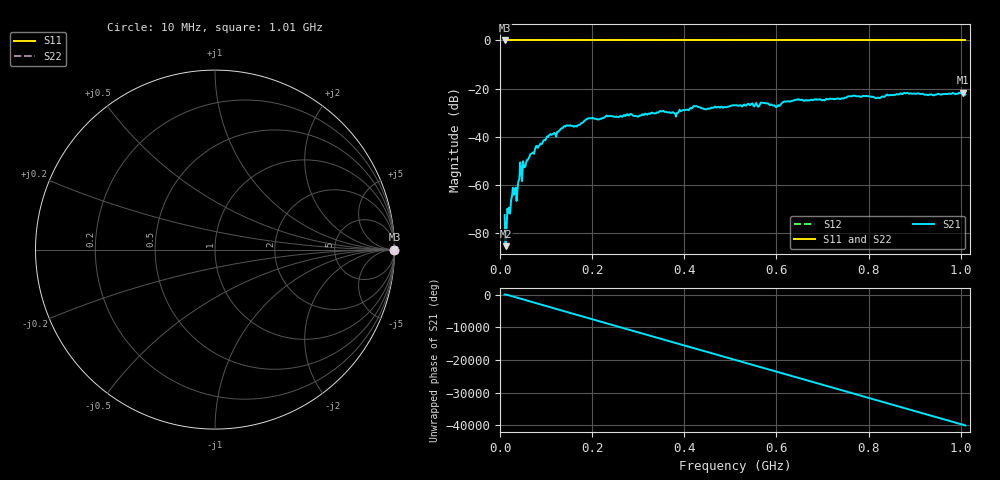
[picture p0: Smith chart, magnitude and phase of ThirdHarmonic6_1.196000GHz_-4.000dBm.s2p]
! 8/16/2025 12:20:10 PM
! C:\ANRITSUVNA\TEMP\TEMP.S2P
! CHANNEL.1
! TR.MEASUREMENT
! RAW.DATA
! RF.CORRECTION.OFF
! AVERAGING.OFF
! IF.BANDWIDTH: 5KHZ
! SWEEPTYPE:  FREQ.SWEEP(Linear)
! Reference Plane Port Info
! PORT:  PORT1  PORT2
! DISTANCE:  0  m  0  m
! TIME:  0  s  0  s
! PHASE.OFFSET:  0  deg.  0  deg.
! LOSS:  0  dB  0  dB
! REF.LOSS:  0  dB  0  dB
! REF.FREQ:  0  Hz  0  Hz
! Power Info
! POWER:  -20  dBm  -20  dBm
! EFF.POWER:  -20  dBm  -20  dBm
! SOURCE.ATTEN:  0  dB  0  dB
! TEST.ATTEN:  0  dB  0  dB
# GHZ S RI R 50.0
! FREQ.GHZ  S11RE  S11IM  S21RE  S21IM  S12RE  S12IM  S22RE  S22IM
!; PortSelection: Port_12
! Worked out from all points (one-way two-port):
!   501 points, 10 MHz to 1.01 GHz, reference 50 ohm
!   highest |S21| = -21.66 dB at 1.004 GHz (marker M1); lowest = -85.6 dB at 12 MHz (marker M2)
!   lowest |S11| = 0.0 dB at 10 MHz (marker M3)
!   |S11| at or under -10 dB: nowhere
!   |S22| runs from 0.0 to 0.0 dB; largest |S21 - S12| = 1.1
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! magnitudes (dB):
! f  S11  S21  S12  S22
! 10 MHz  0.0  -72.6  0.0  0.0
! 12 MHz  0.0  -85.6  0.0  0.0
! 16 MHz  0.0  -70.0  0.0  0.0
! 30 MHz  0.0  -64.2  0.0  0.0
! 38 MHz  0.0  -62.0  0.0  0.0
! 42 MHz  0.0  -57.7  0.0  0.0
! 48 MHz  0.0  -58.5  0.0  0.0
! 68 MHz  0.0  -47.1  0.0  0.0
! 106 MHz  0.0  -39.5  0.0  0.0
! 142 MHz  0.0  -35.8  0.0  0.0
! 178 MHz  0.0  -34.3  0.0  0.0
! 196 MHz  0.0  -32.3  0.0  0.0
! 344 MHz  0.0  -30.0  0.0  0.0
! 382 MHz  0.0  -31.7  0.0  0.0
! 424 MHz  0.0  -27.4  0.0  0.0
! 510 MHz  0.0  -26.9  0.0  0.0
! 602 MHz  0.0  -27.2  0.0  0.0
! 618 MHz  0.0  -25.4  0.0  0.0
! 678 MHz  0.0  -24.8  0.0  0.0
! 844 MHz  0.0  -22.9  0.0  0.0
! 1.004 GHz  0.0  -21.7  0.0  0.0
! 1.01 GHz  0.0  -22.5  0.0  0.0
